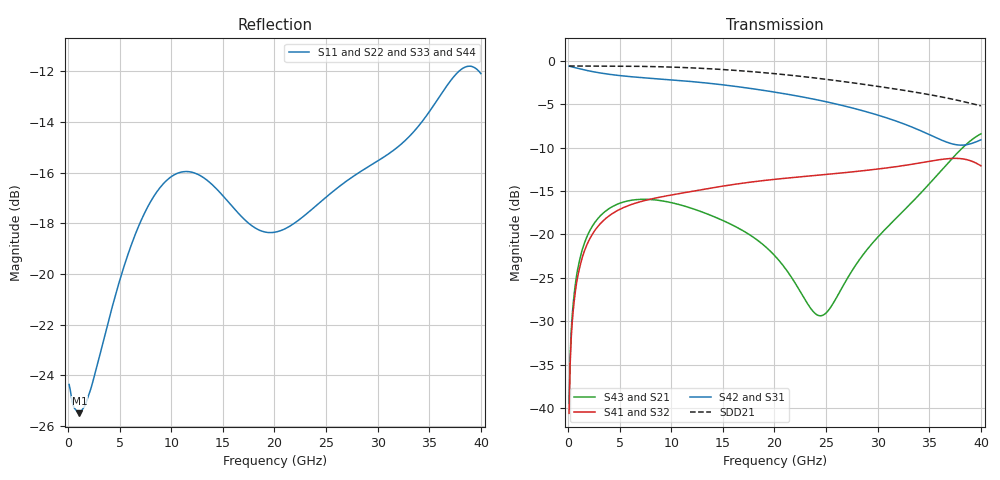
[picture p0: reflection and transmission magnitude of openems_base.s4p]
! E_s8_L1L8_p1000_oval_g0: pair L1→L8, pitch 1 mm, one oval antipad, 0 GND vias
! stackup: 8-layer 1.6 mm FR-4 (generic)
! ports: 1 P near, 2 N near, 3 P far, 4 N far
! openEMS 0.37.0, staircase, base mesh (dfine 0.035 mm), 752895 cells
# Hz S RI R 50
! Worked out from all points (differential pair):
!   400 points, 100 MHz to 40 GHz, reference 50 ohm
!   strongest paths, dB at 100 MHz, 10.1 GHz, 20.1 GHz, 30.1 GHz, 40 GHz:
!     S42: -0.6, -2.2, -3.6, -6.3, -9.1
!     S31: -0.6, -2.2, -3.6, -6.3, -9.1
!     S41: -40.6, -15.4, -13.6, -12.4, -12.1
!     S32: -40.6, -15.4, -13.6, -12.4, -12.1
!     S43: -39.5, -16.4, -22.5, -20.2, -8.4
!     S21: -39.5, -16.4, -22.5, -20.2, -8.4
!   taken as a pair (ports 2,1 in; 4,3 out), SDD21 dB: -0.6, -0.7, -1.5, -2.9, -5.2
!   lowest |S11| = -25.5 dB at 1.1 GHz (marker M1), VSWR 1.11, Z = 49.2 + j5.22 ohm
!   |S11| at or under -10 dB: start of sweep to end of sweep
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1e8  -0.0596 0.0106  0.00472 0.00949  0.9322 -0.044  -0.00262 -0.009
     0.00472 0.00949  -0.0596 0.0106  -0.00262 -0.009  0.9322 -0.044
     0.9322 -0.0439  -0.00265 -0.00894  -0.0596 0.0107  0.00469 0.00956
     -0.00265 -0.00894  0.9322 -0.0439  0.00469 0.00956  -0.0596 0.0107
1.1e9  -0.00501 0.0529  0.058 0.0401  0.8039 -0.4082  -0.0535 -0.0345
       0.058 0.0401  -0.00501 0.0529  -0.0535 -0.0345  0.8039 -0.4082
       0.8039 -0.4081  -0.0536 -0.0345  -0.00507 0.0529  0.058 0.0402
       -0.0536 -0.0345  0.8039 -0.4081  0.058 0.0402  -0.00507 0.0529
7.8e9  -0.113 -0.0768  -0.1035 -0.121  -0.7902 -0.0943  0.1167 0.1078
       -0.1035 -0.121  -0.113 -0.0768  0.1167 0.1078  -0.7902 -0.0943
       -0.7902 -0.0944  0.1167 0.1078  -0.113 -0.0769  -0.1035 -0.1211
       0.1167 0.1078  -0.7902 -0.0944  -0.1035 -0.1211  -0.113 -0.0769
1.61e10  0.1337 0.0149  0.0826 0.0756  0.7112 0.0745  -0.1497 -0.1241
         0.0826 0.0756  0.1337 0.0149  -0.1497 -0.1241  0.7112 0.0745
         0.7112 0.0745  -0.1497 -0.1241  0.1337 0.0149  0.0826 0.0756
         -0.1497 -0.1241  0.7112 0.0745  0.0826 0.0756  0.1337 0.0149
2.4e10  -0.1287 0.0446  -0.0348 -0.0019  -0.5819 -0.1429  0.1592 0.1503
        -0.0348 -0.0019  -0.1287 0.0446  0.1592 0.1503  -0.5819 -0.1429
        -0.5819 -0.1429  0.1592 0.1503  -0.1287 0.0446  -0.0348 -0.0019
        0.1592 0.1503  -0.5819 -0.1429  -0.0348 -0.0019  -0.1287 0.0446
3.23e10  0.1743 -0.0471  0.0695 -0.1135  0.4239 0.1149  -0.2107 -0.1316
         0.0695 -0.1135  0.1743 -0.0471  -0.2107 -0.1316  0.4239 0.1149
         0.4239 0.1149  -0.2107 -0.1316  0.1743 -0.0471  0.0695 -0.1135
         -0.2107 -0.1316  0.4239 0.1149  0.0695 -0.1135  0.1743 -0.0471
4e10  -0.2443 0.0455  -0.2379 0.2966  -0.2183 -0.275  0.248 0.0192
      -0.2379 0.2966  -0.2443 0.0455  0.248 0.0192  -0.2183 -0.275
      -0.2183 -0.275  0.248 0.0192  -0.2443 0.0455  -0.2379 0.2966
      0.248 0.0192  -0.2183 -0.275  -0.2379 0.2966  -0.2443 0.0455
